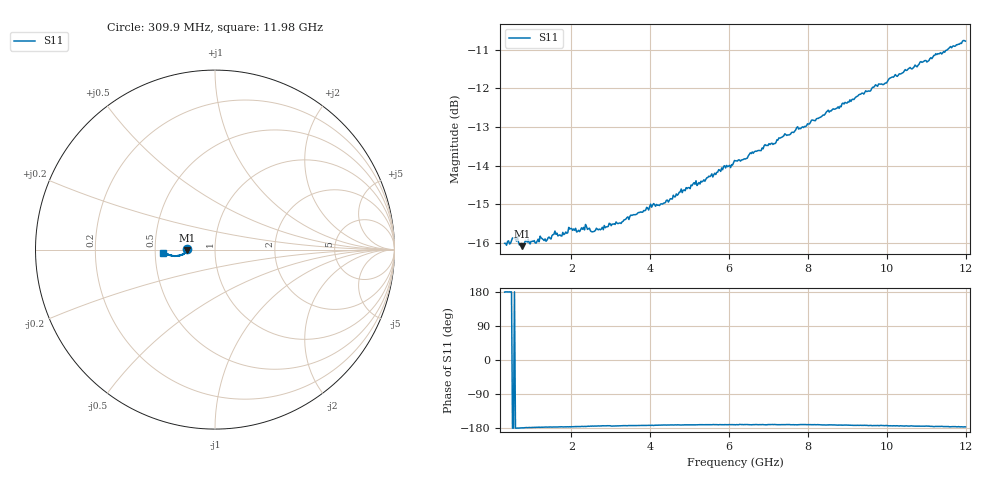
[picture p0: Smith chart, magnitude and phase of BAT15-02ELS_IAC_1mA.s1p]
! Infineon Technologies  Discrete & RF Semiconductors
! BAT15-02ELS
! IAC = 1 mA
! One-Port S-Parameters
# Hz  S  MA  R  50
!f  S11
!Hz  Mag  Ang
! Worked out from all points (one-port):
!   468 points, 309.9 MHz to 11.98 GHz, reference 50 ohm
!   lowest |S11| = -16.1 dB at 759.6 MHz (marker M1), VSWR 1.37, Z = 36.4 - j0.215 ohm
!   |S11| at or under -10 dB: start of sweep to end of sweep
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3.0985e8  0.1583 179.2
5.847125e8  0.1603 -179.8
7.59625e8  0.1569 -179.0
8.59575e8  0.1595 -178.2
1.359325e9  0.1592 -176.9
1.584212e9  0.1642 -176.9
1.784112e9  0.1635 -176.6
1.984012e9  0.1655 -176.4
2.183912e9  0.1646 -175.6
2.4088e9  0.165 -174.8
2.558725e9  0.1639 -174.5
3.233388e9  0.1682 -173.8
4.032988e9  0.1763 -172.2
4.332838e9  0.1784 -171.6
4.70765e9  0.1832 -171.3
5.10745e9  0.1896 -171.0
5.357325e9  0.1912 -170.8
5.90705e9  0.1981 -170.6
6.031988e9  0.1983 -170.6
6.156925e9  0.2024 -171.1
6.4068e9  0.2034 -170.6
6.531738e9  0.2072 -170.7
7.6062e9  0.2204 -170.8
8.2059e9  0.2294 -170.9
9.080462e9  0.2415 -171.8
9.930038e9  0.2546 -173.2
1.052974e10  0.2661 -174.3
1.197901e10  0.2891 -176.5
